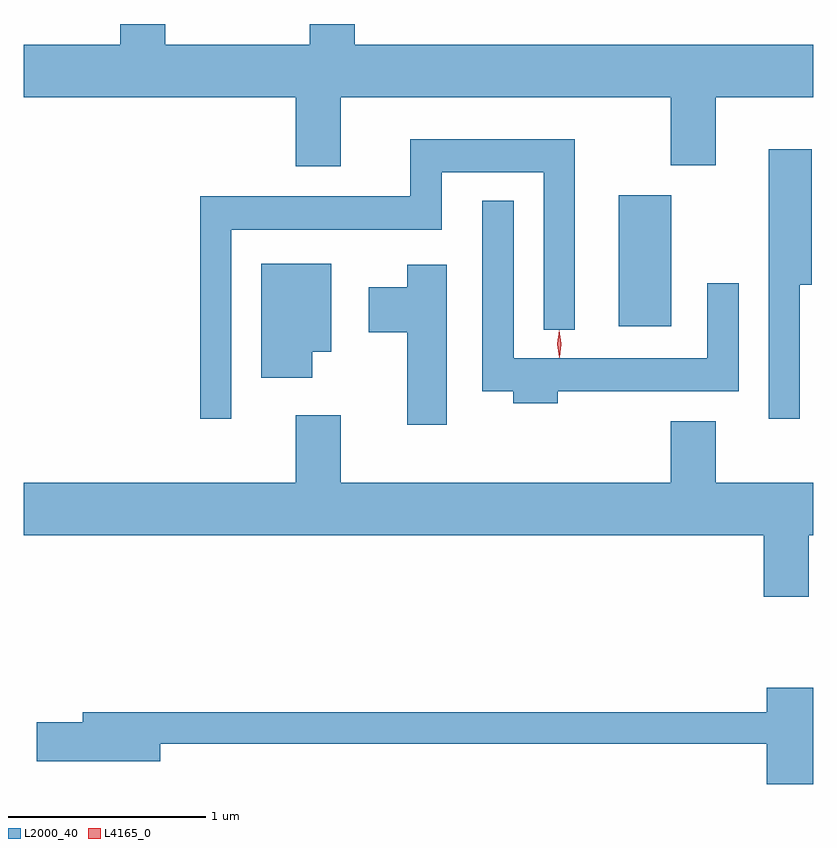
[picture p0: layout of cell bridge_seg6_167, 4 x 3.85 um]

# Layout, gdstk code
import gdstk
lib = gdstk.Library(unit=1e-6, precision=1e-09)
def R(c, l, rs):  # rectangles x0, y0, x1, y1
    for r in rs: c.add(gdstk.rectangle(r[:2], r[2:], *l))
def P(c, l, *ps):  # polygons
    for p in ps: c.add(gdstk.Polygon(p, *l))
L2000_40 = (2000, 40)
L4165_0 = (4165, 0)

bridge_seg6_167 = lib.new_cell('bridge_seg6_167')
R(bridge_seg6_167, L2000_40, [(1119.166,1575.516,1119.434,1576.179)])
P(bridge_seg6_167, L2000_40, [(1117.759,1576.676),(1119.431,1576.676),(1119.431,1576.331),(1119.659,1576.331),(1119.659,1576.676),(1120.152,1576.676),(1120.152,1576.944),(1117.829,1576.944),(1117.829,1577.048),(1117.601,1577.048),(1117.601,1576.944),(1116.869,1576.944),(1116.869,1577.048),(1116.641,1577.048),(1116.641,1576.944),(1116.152,1576.944),(1116.152,1576.676),(1117.531,1576.676),(1117.531,1576.326),(1117.759,1576.326)],
  [(1117.204,1576.006),(1118.269,1576.006),(1118.269,1576.296),(1118.786,1576.296),(1118.786,1575.498),(1118.944,1575.498),(1118.944,1576.464),(1118.111,1576.464),(1118.111,1576.174),(1117.046,1576.174),(1117.046,1575.048),(1117.204,1575.048)],
  [(1120.084,1575.726),(1120.144,1575.726),(1120.144,1576.414),(1119.926,1576.414),(1119.926,1575.048),(1120.084,1575.048)],
  [(1118.859,1575.186),(1119.774,1575.186),(1119.774,1575.733),(1119.616,1575.733),(1119.616,1575.354),(1118.634,1575.354),(1118.634,1576.153),(1118.476,1576.153),(1118.476,1575.186),(1118.631,1575.186),(1118.631,1575.126),(1118.859,1575.126)],
  [(1117.614,1575.386),(1117.709,1575.386),(1117.709,1575.834),(1117.356,1575.834),(1117.356,1575.256),(1117.614,1575.256)],
  [(1118.294,1575.829),(1118.096,1575.829),(1118.096,1575.714),(1117.901,1575.714),(1117.901,1575.486),(1118.096,1575.486),(1118.096,1575.016),(1118.294,1575.016)],
  [(1120.129,1574.456),(1120.152,1574.456),(1120.152,1574.724),(1119.659,1574.724),(1119.659,1575.034),(1119.431,1575.034),(1119.431,1574.724),(1117.759,1574.724),(1117.759,1575.064),(1117.531,1575.064),(1117.531,1574.724),(1116.152,1574.724),(1116.152,1574.456),(1119.901,1574.456),(1119.901,1574.146),(1120.129,1574.146)],
  [(1120.152,1573.684),(1119.916,1573.684),(1119.916,1573.559),(1116.451,1573.559),(1116.451,1573.509),(1116.216,1573.509),(1116.216,1573.311),(1116.844,1573.311),(1116.844,1573.401),(1119.916,1573.401),(1119.916,1573.196),(1120.152,1573.196)])
P(bridge_seg6_167, L4165_0, [(1118.866,1575.359),(1118.866,1575.36),(1118.856,1575.426),(1118.866,1575.492),(1118.866,1575.493),(1118.866,1575.492),(1118.876,1575.426),(1118.867,1575.36)],
  [(1118.866,1575.357),(1118.865,1575.358),(1118.856,1575.427),(1118.865,1575.496),(1118.866,1575.496),(1118.866,1575.496),(1118.876,1575.427),(1118.866,1575.358)])

lib.write_gds('bridge_seg6_167.gds')
